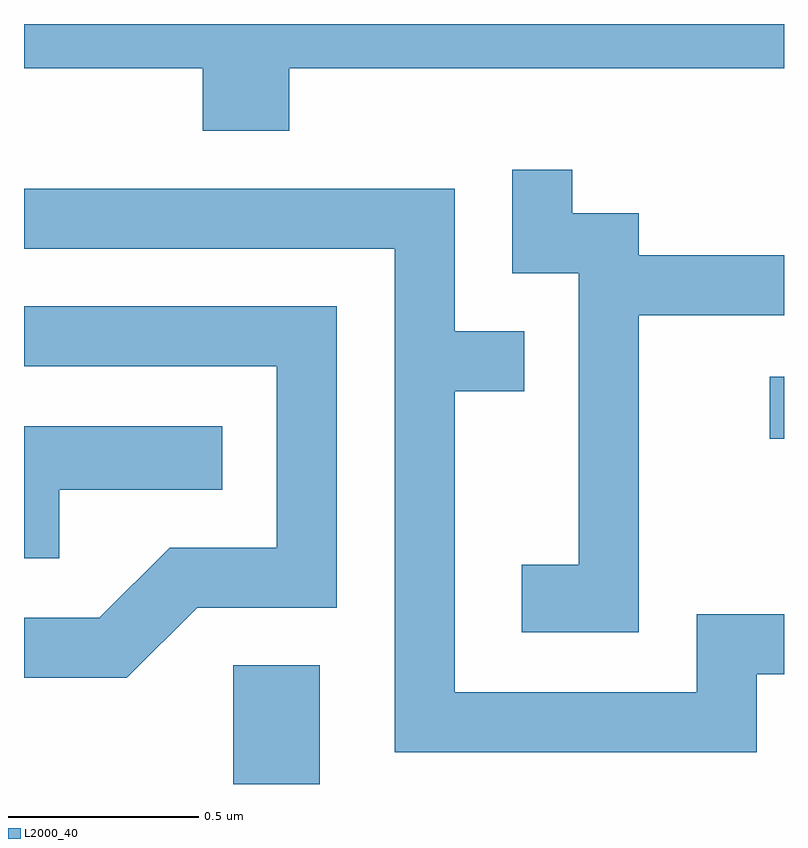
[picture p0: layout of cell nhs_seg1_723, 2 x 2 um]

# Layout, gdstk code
import gdstk
lib = gdstk.Library(unit=1e-6, precision=1e-09)
def R(c, l, rs):  # rectangles x0, y0, x1, y1
    for r in rs: c.add(gdstk.rectangle(r[:2], r[2:], *l))
def P(c, l, *ps):  # polygons
    for p in ps: c.add(gdstk.Polygon(p, *l))
L2000_40 = (2000, 40)

nhs_seg1_723 = lib.new_cell('nhs_seg1_723')
R(nhs_seg1_723, L2000_40, [(191.161,877.712,191.389,878.024), (192.573,878.621,192.611,878.784)])
P(nhs_seg1_723, L2000_40, [(191.309,879.596),(192.611,879.596),(192.611,879.712),(190.611,879.712),(190.611,879.596),(191.081,879.596),(191.081,879.431),(191.309,879.431)],
  [(192.229,878.946),(192.611,878.946),(192.611,879.104),(192.229,879.104),(192.229,879.214),(192.054,879.214),(192.054,879.328),(191.896,879.328),(191.896,879.056),(192.071,879.056),(192.071,878.289),(191.921,878.289),(191.921,878.111),(192.229,878.111)],
  [(192.539,878.001),(192.611,878.001),(192.611,878.159),(192.381,878.159),(192.381,877.954),(191.744,877.954),(191.744,878.746),(191.928,878.746),(191.928,878.904),(191.744,878.904),(191.744,879.279),(190.611,879.279),(190.611,879.121),(191.586,879.121),(191.586,877.796),(192.539,877.796)],
  [(191.067,878.176),(191.434,878.176),(191.434,878.969),(190.611,878.969),(190.611,878.811),(191.276,878.811),(191.276,878.334),(190.994,878.334),(190.809,878.149),(190.611,878.149),(190.611,877.991),(190.882,877.991)],
  [(190.704,878.486),(191.133,878.486),(191.133,878.654),(190.611,878.654),(190.611,878.306),(190.704,878.306)])

lib.write_gds('nhs_seg1_723.gds')
